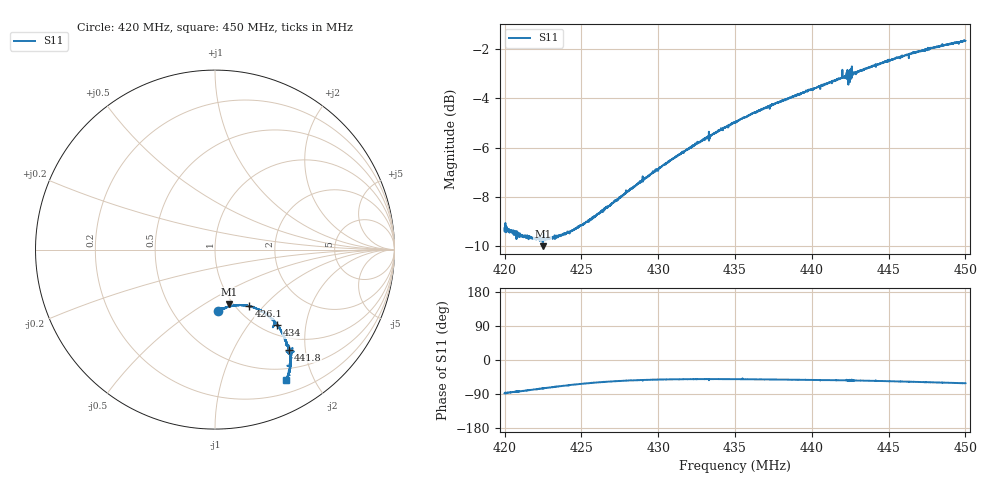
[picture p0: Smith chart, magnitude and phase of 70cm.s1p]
! Calibrated averaged scanner-service zoom
# Hz S RI R 50
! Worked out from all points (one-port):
!   3001 points, 420 MHz to 450 MHz, reference 50 ohm
!   lowest |S11| = -10.0 dB at 422.5 MHz (marker M1), VSWR 1.92, Z = 47.9 - j32.5 ohm
!   |S11| at or under -10 dB: 422.4898 MHz to 422.4902 MHz (382.9 Hz wide, 9.06e-05 % of centre)
!   S11 on the Smith chart (normalised r, x): 420 MHz: 0.81, -0.63; 426.1 MHz: 1.15, -0.84; 434 MHz: 1.17, -1.40; 441.8 MHz: 0.79, -1.69; 450 MHz: 0.36, -1.63
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4.2e8  0.0145 -0.3438
4.209e8  0.0425 -0.3297
4.2249e8  0.0798 -0.3058
4.2324e8  0.107 -0.3107
4.2375e8  0.1224 -0.3101
4.2434e8  0.1397 -0.3095
4.2511e8  0.1617 -0.3111
4.261e8  0.1911 -0.3147
4.275e8  0.2255 -0.327
4.2969e8  0.2747 -0.3508
4.3125e8  0.3039 -0.3739
4.3249e8  0.3258 -0.3931
4.3341e8  0.3391 -0.4083
4.3403e8  0.3477 -0.4201
4.35e8  0.3588 -0.4361
4.3675e8  0.3772 -0.4672
4.3875e8  0.3903 -0.5017
4.4181e8  0.4099 -0.5567
4.4214e8  0.4128 -0.5626
4.4229e8  0.4282 -0.5677
4.4238e8  0.4102 -0.5336
4.425e8  0.4311 -0.568
4.4276e8  0.4227 -0.5719
4.4404e8  0.421 -0.603
4.4625e8  0.4192 -0.6519
4.4764e8  0.415 -0.6774
4.4845e8  0.4081 -0.6975
4.5e8  0.3975 -0.7248
